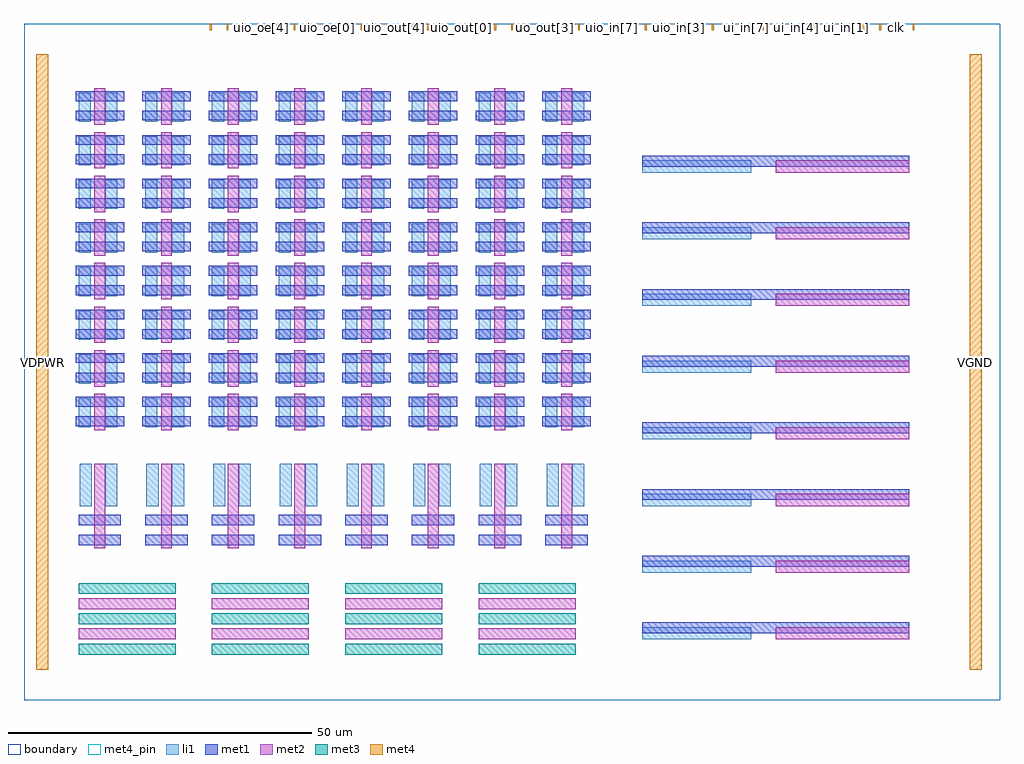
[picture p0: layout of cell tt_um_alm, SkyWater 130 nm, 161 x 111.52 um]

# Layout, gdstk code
import gdstk
lib = gdstk.Library(unit=1e-6, precision=1e-09)
def R(c, l, rs):  # rectangles x0, y0, x1, y1
    for r in rs: c.add(gdstk.rectangle(r[:2], r[2:], *l))
def A(c, l, x, y, w, h, nx, ny, dx, dy):  # array of equal rectangles
    R(c, l, [(x+i*dx, y+j*dy, x+i*dx+w, y+j*dy+h) for i in range(nx) for j in range(ny)])
li1 = (67, 20)
met1 = (68, 20)
met2 = (69, 20)
met3 = (70, 20)
met4_pin = (71, 16)
met4 = (71, 20)
boundary = (235, 4)

alm_diff_synapse_pair = lib.new_cell('ALM_DIFF_SYNAPSE_PAIR')
R(alm_diff_synapse_pair, li1, [(1,1,3,5.8), (5.4,1,7.4,5.8)])
R(alm_diff_synapse_pair, met1, [(0.5,1.2,8.5,2.8), (0.5,4.4,8.5,6)])
R(alm_diff_synapse_pair, met2, [(3.6,0.5,5.4,6.5)])

alm_column_tia_trim_skip = lib.new_cell('ALM_COLUMN_TIA_TRIM_SKIP')
R(alm_column_tia_trim_skip, li1, [(1.2,8,3.2,15), (5.4,8,7.4,15)])
R(alm_column_tia_trim_skip, met1, [(1,1.5,8,3.3), (1,4.8,8,6.6)])
R(alm_column_tia_trim_skip, met2, [(3.6,1,5.4,15)])

alm_mim_cap_2pf_sh_rc = lib.new_cell('ALM_MIM_CAP_2PF_SH_RC')
R(alm_mim_cap_2pf_sh_rc, met2, [(1,4,17,5.8), (1,9,17,10.8)])
A(alm_mim_cap_2pf_sh_rc, met3, 1, 1.5, 16, 1.8, 1, 3, 0, 5)

alm_gilbert_softmax_agc_ = lib.new_cell('ALM_GILBERT_SOFTMAX_AGC_CORE')
A(alm_gilbert_softmax_agc_, li1, 2, 2, 18, 2, 1, 8, 0, 11)
A(alm_gilbert_softmax_agc_, met1, 2, 3, 44, 1.8, 1, 8, 0, 11)
A(alm_gilbert_softmax_agc_, met2, 24, 2, 22, 2, 1, 8, 0, 11)

tt_um_alm = lib.new_cell('tt_um_alm')
A(tt_um_alm, met4_pin, 30.67, 110.52, 0.3, 1, 43, 1, 2.76, 0)
R(tt_um_alm, met4_pin, [(2,5,4,106.52), (156,5,158,106.52)])
A(tt_um_alm, met4, 30.67, 110.52, 0.3, 1, 43, 1, 2.76, 0)
R(tt_um_alm, met4, [(2,5,4,106.52), (156,5,158,106.52)])
R(tt_um_alm, boundary, [(0,0,161,111.52)])
tt_um_alm.add(gdstk.Reference(alm_diff_synapse_pair, (8,44)))
tt_um_alm.add(gdstk.Reference(alm_diff_synapse_pair, (19,44)))
tt_um_alm.add(gdstk.Reference(alm_diff_synapse_pair, (30,44)))
tt_um_alm.add(gdstk.Reference(alm_diff_synapse_pair, (41,44)))
tt_um_alm.add(gdstk.Reference(alm_diff_synapse_pair, (52,44)))
tt_um_alm.add(gdstk.Reference(alm_diff_synapse_pair, (63,44)))
tt_um_alm.add(gdstk.Reference(alm_diff_synapse_pair, (74,44)))
tt_um_alm.add(gdstk.Reference(alm_diff_synapse_pair, (85,44)))
tt_um_alm.add(gdstk.Reference(alm_diff_synapse_pair, (8,51.2)))
tt_um_alm.add(gdstk.Reference(alm_diff_synapse_pair, (19,51.2)))
tt_um_alm.add(gdstk.Reference(alm_diff_synapse_pair, (30,51.2)))
tt_um_alm.add(gdstk.Reference(alm_diff_synapse_pair, (41,51.2)))
tt_um_alm.add(gdstk.Reference(alm_diff_synapse_pair, (52,51.2)))
tt_um_alm.add(gdstk.Reference(alm_diff_synapse_pair, (63,51.2)))
tt_um_alm.add(gdstk.Reference(alm_diff_synapse_pair, (74,51.2)))
tt_um_alm.add(gdstk.Reference(alm_diff_synapse_pair, (85,51.2)))
tt_um_alm.add(gdstk.Reference(alm_diff_synapse_pair, (8,58.4)))
tt_um_alm.add(gdstk.Reference(alm_diff_synapse_pair, (19,58.4)))
tt_um_alm.add(gdstk.Reference(alm_diff_synapse_pair, (30,58.4)))
tt_um_alm.add(gdstk.Reference(alm_diff_synapse_pair, (41,58.4)))
tt_um_alm.add(gdstk.Reference(alm_diff_synapse_pair, (52,58.4)))
tt_um_alm.add(gdstk.Reference(alm_diff_synapse_pair, (63,58.4)))
tt_um_alm.add(gdstk.Reference(alm_diff_synapse_pair, (74,58.4)))
tt_um_alm.add(gdstk.Reference(alm_diff_synapse_pair, (85,58.4)))
tt_um_alm.add(gdstk.Reference(alm_diff_synapse_pair, (8,65.6)))
tt_um_alm.add(gdstk.Reference(alm_diff_synapse_pair, (19,65.6)))
tt_um_alm.add(gdstk.Reference(alm_diff_synapse_pair, (30,65.6)))
tt_um_alm.add(gdstk.Reference(alm_diff_synapse_pair, (41,65.6)))
tt_um_alm.add(gdstk.Reference(alm_diff_synapse_pair, (52,65.6)))
tt_um_alm.add(gdstk.Reference(alm_diff_synapse_pair, (63,65.6)))
tt_um_alm.add(gdstk.Reference(alm_diff_synapse_pair, (74,65.6)))
tt_um_alm.add(gdstk.Reference(alm_diff_synapse_pair, (85,65.6)))
tt_um_alm.add(gdstk.Reference(alm_diff_synapse_pair, (8,72.8)))
tt_um_alm.add(gdstk.Reference(alm_diff_synapse_pair, (19,72.8)))
tt_um_alm.add(gdstk.Reference(alm_diff_synapse_pair, (30,72.8)))
tt_um_alm.add(gdstk.Reference(alm_diff_synapse_pair, (41,72.8)))
tt_um_alm.add(gdstk.Reference(alm_diff_synapse_pair, (52,72.8)))
tt_um_alm.add(gdstk.Reference(alm_diff_synapse_pair, (63,72.8)))
tt_um_alm.add(gdstk.Reference(alm_diff_synapse_pair, (74,72.8)))
tt_um_alm.add(gdstk.Reference(alm_diff_synapse_pair, (85,72.8)))
tt_um_alm.add(gdstk.Reference(alm_diff_synapse_pair, (8,80)))
tt_um_alm.add(gdstk.Reference(alm_diff_synapse_pair, (19,80)))
tt_um_alm.add(gdstk.Reference(alm_diff_synapse_pair, (30,80)))
tt_um_alm.add(gdstk.Reference(alm_diff_synapse_pair, (41,80)))
tt_um_alm.add(gdstk.Reference(alm_diff_synapse_pair, (52,80)))
tt_um_alm.add(gdstk.Reference(alm_diff_synapse_pair, (63,80)))
tt_um_alm.add(gdstk.Reference(alm_diff_synapse_pair, (74,80)))
tt_um_alm.add(gdstk.Reference(alm_diff_synapse_pair, (85,80)))
tt_um_alm.add(gdstk.Reference(alm_diff_synapse_pair, (8,87.2)))
tt_um_alm.add(gdstk.Reference(alm_diff_synapse_pair, (19,87.2)))
tt_um_alm.add(gdstk.Reference(alm_diff_synapse_pair, (30,87.2)))
tt_um_alm.add(gdstk.Reference(alm_diff_synapse_pair, (41,87.2)))
tt_um_alm.add(gdstk.Reference(alm_diff_synapse_pair, (52,87.2)))
tt_um_alm.add(gdstk.Reference(alm_diff_synapse_pair, (63,87.2)))
tt_um_alm.add(gdstk.Reference(alm_diff_synapse_pair, (74,87.2)))
tt_um_alm.add(gdstk.Reference(alm_diff_synapse_pair, (85,87.2)))
tt_um_alm.add(gdstk.Reference(alm_diff_synapse_pair, (8,94.4)))
tt_um_alm.add(gdstk.Reference(alm_diff_synapse_pair, (19,94.4)))
tt_um_alm.add(gdstk.Reference(alm_diff_synapse_pair, (30,94.4)))
tt_um_alm.add(gdstk.Reference(alm_diff_synapse_pair, (41,94.4)))
tt_um_alm.add(gdstk.Reference(alm_diff_synapse_pair, (52,94.4)))
tt_um_alm.add(gdstk.Reference(alm_diff_synapse_pair, (63,94.4)))
tt_um_alm.add(gdstk.Reference(alm_diff_synapse_pair, (74,94.4)))
tt_um_alm.add(gdstk.Reference(alm_diff_synapse_pair, (85,94.4)))
tt_um_alm.add(gdstk.Reference(alm_column_tia_trim_skip, (8,24)))
tt_um_alm.add(gdstk.Reference(alm_column_tia_trim_skip, (19,24)))
tt_um_alm.add(gdstk.Reference(alm_column_tia_trim_skip, (30,24)))
tt_um_alm.add(gdstk.Reference(alm_column_tia_trim_skip, (41,24)))
tt_um_alm.add(gdstk.Reference(alm_column_tia_trim_skip, (52,24)))
tt_um_alm.add(gdstk.Reference(alm_column_tia_trim_skip, (63,24)))
tt_um_alm.add(gdstk.Reference(alm_column_tia_trim_skip, (74,24)))
tt_um_alm.add(gdstk.Reference(alm_column_tia_trim_skip, (85,24)))
tt_um_alm.add(gdstk.Reference(alm_mim_cap_2pf_sh_rc, (8,6)))
tt_um_alm.add(gdstk.Reference(alm_mim_cap_2pf_sh_rc, (30,6)))
tt_um_alm.add(gdstk.Reference(alm_mim_cap_2pf_sh_rc, (52,6)))
tt_um_alm.add(gdstk.Reference(alm_mim_cap_2pf_sh_rc, (74,6)))
tt_um_alm.add(gdstk.Reference(alm_gilbert_softmax_agc_, (100,8)))
tt_um_alm.add(gdstk.Label('VDPWR', (3,55.76), layer=71, texttype=5))
tt_um_alm.add(gdstk.Label('VGND', (157,55.76), layer=71, texttype=5))
tt_um_alm.add(gdstk.Label('clk', (143.98,111.02), layer=71, texttype=5))
tt_um_alm.add(gdstk.Label('ena', (146.74,111.02), layer=71, texttype=5))
tt_um_alm.add(gdstk.Label('rst_n', (141.22,111.02), layer=71, texttype=5))
tt_um_alm.add(gdstk.Label('ui_in[0]', (138.46,111.02), layer=71, texttype=5))
tt_um_alm.add(gdstk.Label('ui_in[1]', (135.7,111.02), layer=71, texttype=5))
tt_um_alm.add(gdstk.Label('ui_in[2]', (132.94,111.02), layer=71, texttype=5))
tt_um_alm.add(gdstk.Label('ui_in[3]', (130.18,111.02), layer=71, texttype=5))
tt_um_alm.add(gdstk.Label('ui_in[4]', (127.42,111.02), layer=71, texttype=5))
tt_um_alm.add(gdstk.Label('ui_in[5]', (124.66,111.02), layer=71, texttype=5))
tt_um_alm.add(gdstk.Label('ui_in[6]', (121.9,111.02), layer=71, texttype=5))
tt_um_alm.add(gdstk.Label('ui_in[7]', (119.14,111.02), layer=71, texttype=5))
tt_um_alm.add(gdstk.Label('uio_in[0]', (116.38,111.02), layer=71, texttype=5))
tt_um_alm.add(gdstk.Label('uio_in[1]', (113.62,111.02), layer=71, texttype=5))
tt_um_alm.add(gdstk.Label('uio_in[2]', (110.86,111.02), layer=71, texttype=5))
tt_um_alm.add(gdstk.Label('uio_in[3]', (108.1,111.02), layer=71, texttype=5))
tt_um_alm.add(gdstk.Label('uio_in[4]', (105.34,111.02), layer=71, texttype=5))
tt_um_alm.add(gdstk.Label('uio_in[5]', (102.58,111.02), layer=71, texttype=5))
tt_um_alm.add(gdstk.Label('uio_in[6]', (99.82,111.02), layer=71, texttype=5))
tt_um_alm.add(gdstk.Label('uio_in[7]', (97.06,111.02), layer=71, texttype=5))
tt_um_alm.add(gdstk.Label('uio_oe[0]', (50.14,111.02), layer=71, texttype=5))
tt_um_alm.add(gdstk.Label('uio_oe[1]', (47.38,111.02), layer=71, texttype=5))
tt_um_alm.add(gdstk.Label('uio_oe[2]', (44.62,111.02), layer=71, texttype=5))
tt_um_alm.add(gdstk.Label('uio_oe[3]', (41.86,111.02), layer=71, texttype=5))
tt_um_alm.add(gdstk.Label('uio_oe[4]', (39.1,111.02), layer=71, texttype=5))
tt_um_alm.add(gdstk.Label('uio_oe[5]', (36.34,111.02), layer=71, texttype=5))
tt_um_alm.add(gdstk.Label('uio_oe[6]', (33.58,111.02), layer=71, texttype=5))
tt_um_alm.add(gdstk.Label('uio_oe[7]', (30.82,111.02), layer=71, texttype=5))
tt_um_alm.add(gdstk.Label('uio_out[0]', (72.22,111.02), layer=71, texttype=5))
tt_um_alm.add(gdstk.Label('uio_out[1]', (69.46,111.02), layer=71, texttype=5))
tt_um_alm.add(gdstk.Label('uio_out[2]', (66.7,111.02), layer=71, texttype=5))
tt_um_alm.add(gdstk.Label('uio_out[3]', (63.94,111.02), layer=71, texttype=5))
tt_um_alm.add(gdstk.Label('uio_out[4]', (61.18,111.02), layer=71, texttype=5))
tt_um_alm.add(gdstk.Label('uio_out[5]', (58.42,111.02), layer=71, texttype=5))
tt_um_alm.add(gdstk.Label('uio_out[6]', (55.66,111.02), layer=71, texttype=5))
tt_um_alm.add(gdstk.Label('uio_out[7]', (52.9,111.02), layer=71, texttype=5))
tt_um_alm.add(gdstk.Label('uo_out[0]', (94.3,111.02), layer=71, texttype=5))
tt_um_alm.add(gdstk.Label('uo_out[1]', (91.54,111.02), layer=71, texttype=5))
tt_um_alm.add(gdstk.Label('uo_out[2]', (88.78,111.02), layer=71, texttype=5))
tt_um_alm.add(gdstk.Label('uo_out[3]', (86.02,111.02), layer=71, texttype=5))
tt_um_alm.add(gdstk.Label('uo_out[4]', (83.26,111.02), layer=71, texttype=5))
tt_um_alm.add(gdstk.Label('uo_out[5]', (80.5,111.02), layer=71, texttype=5))
tt_um_alm.add(gdstk.Label('uo_out[6]', (77.74,111.02), layer=71, texttype=5))
tt_um_alm.add(gdstk.Label('uo_out[7]', (74.98,111.02), layer=71, texttype=5))

lib.write_gds('tt_um_alm.gds')
